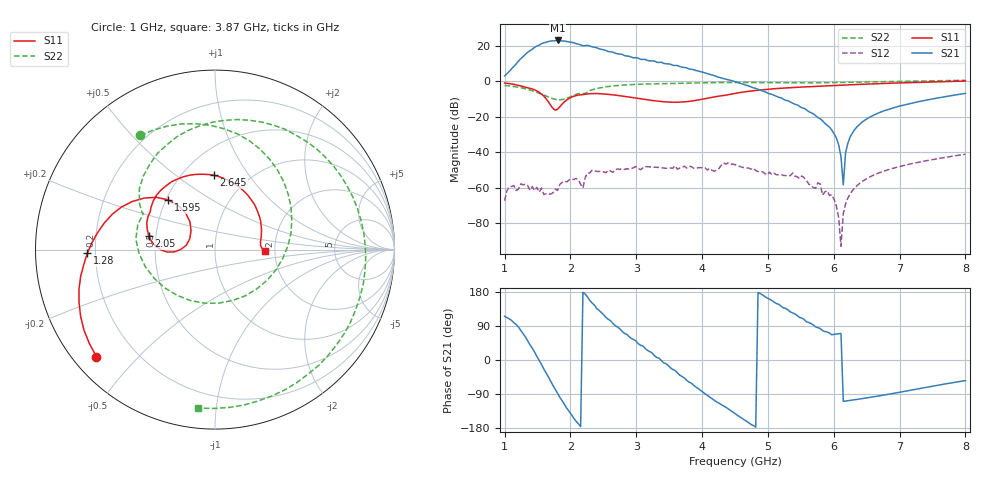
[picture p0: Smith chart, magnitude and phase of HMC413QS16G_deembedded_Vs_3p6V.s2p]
!Hittite Microwave Corporation
!12 Elizabeth Drive
!Chelmsford, MA 01824
!Tel: 978-250-3343
!Fax: 978-250-3373
!Device: HMC413QS8G, 1.7-2.2 GHz GaAs InGap HBT MMIC Power Amplifier in 16-lead Grounded Base surface Mount Plastic Package
!Misc: Input reference is the input pin of the device, output reference is the last component on output line, Vs=3.6V, Vpd=3.6V, Room
# MHZ S MA R 50
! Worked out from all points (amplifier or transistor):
!   201 points, 1 GHz to 8 GHz, reference 50 ohm
!   highest |S21| = 23.0 dB at 1.805 GHz (marker M1)
!   |S21| within 3 dB of that: 1.5 GHz to 2.188 GHz (688.4 MHz wide, 37.3 % of centre) (the widest 1 of 2)
!   unconditionally stable (mu >= 1): start of sweep to 7.044 GHz
!   at 2.155 GHz: K = 24.92, MAG = 22.3 dB, |S12| = -58.1 dB
!   at 4.5 GHz: K = 14.72, MAG = 8.7 dB, |S12| = -47.0 dB
!   at 8 GHz: K = 0.91, MSG = 17.1 dB, |S12| = -41.1 dB
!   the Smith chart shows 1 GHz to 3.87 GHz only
!   S11 on the Smith chart (normalised r, x): 1 GHz: 0.07, -0.38; 1.28 GHz: 0.17, -0.01; 1.595 GHz: 0.51, +0.33; 2.05 GHz: 0.46, +0.08; 2.645 GHz: 0.70, +0.70; 3.87 GHz: 1.78, -0.04
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1000  0.89 -138.0  1.41 115.3  0.0004287 79.7  0.76 123.2
1175  0.789 -163.8  3.045 93.6  0.0008361 54.9  0.693 92.1
1280  0.711 -178.5  4.913 69.6  0.001201 34.7  0.636 72.5
1455  0.573 155.6  9.008 21.2  0.0008274 -6.1  0.511 37.0
1595  0.381 133.3  12.07 -23.6  0.0006443 -72.8  0.407 2.9
1700  0.21 131.8  13.58 -56.3  0.0006562 -143.7  0.338 -29.9
1805  0.162 171.6  14.06 -87.9  0.0008393 119.8  0.3 -70.9
1945  0.297 -179.4  13.14 -127.4  0.001461 92.9  0.331 -129.6
2050  0.376 168.6  12.13 -153.2  0.00169 61.9  0.4 -166.2
2190  0.418 149.6  9.914 178.4  0.0009895 48.0  0.447 153.2
2260  0.438 141.9  10.24 166.3  0.002601 75.9  0.493 148.6
2400  0.449 122.5  8.731 135.7  0.002861 23.8  0.625 120.8
2645  0.414 90.6  6.616 96.5  0.002701 5.1  0.735 80.3
3030  0.327 45.6  4.47 43.1  0.003513 -35.3  0.817 25.6
3345  0.272 18.3  3.358 5.0  0.003717 -63.0  0.85 -17.9
3870  0.281 -2.0  2.123 -66.4  0.003551 -118.1  0.888 -96.0
4500  0.453 -30.7  0.974 -141.2  0.004458 -176.2  0.916 162.0
5690  0.71 -114.2  0.12 92.2  0.001001 71.8  0.897 -23.8
6145  0.777 -150.6  0.001203 -109.2  0.0001859 -6.4  0.925 -97.9
6285  0.798 -161.7  0.035 -105.7  0.0008318 46.1  0.936 -120.6
6845  0.876 156.9  0.164 -90.0  0.003281 -102.4  0.977 150.4
8000  1.011 77.3  0.453 -54.4  0.008787 -22.6  1.062 -33.4
